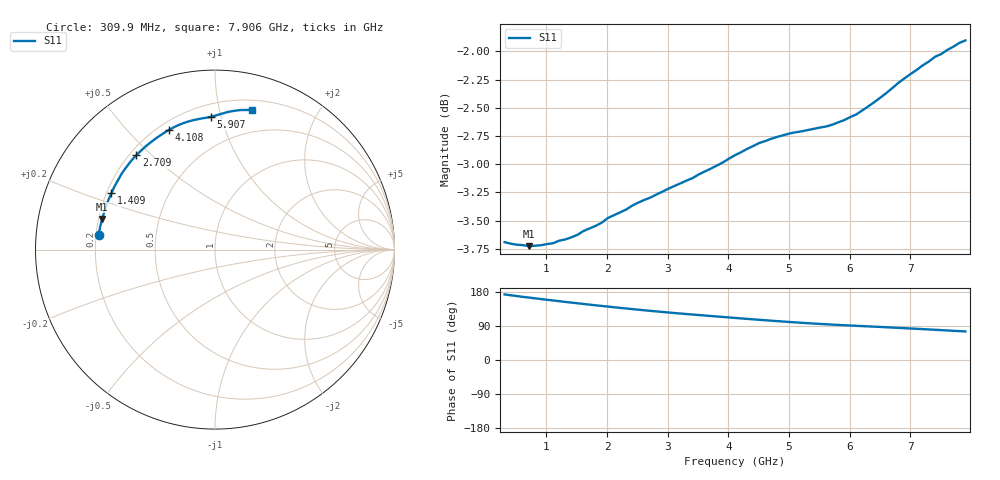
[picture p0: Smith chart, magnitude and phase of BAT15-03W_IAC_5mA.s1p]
! Infineon Technologies  Discrete & RF Semiconductors
! BAT15-03W-E6327
! IAC = 5 mA
! One-Port S-Parameters
# Hz  S  MA  R  50
!f  S11
!Hz  Mag  Ang
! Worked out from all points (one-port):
!   77 points, 309.9 MHz to 7.906 GHz, reference 50 ohm
!   lowest |S11| = -3.7 dB at 709.6 MHz (marker M1), VSWR 4.73, Z = 10.7 + j6.4 ohm
!   |S11| at or under -10 dB: nowhere
!   S11 on the Smith chart (normalised r, x): 309.9 MHz: 0.21, +0.06; 1.409 GHz: 0.22, +0.24; 2.709 GHz: 0.23, +0.45; 4.108 GHz: 0.24, +0.66; 5.907 GHz: 0.28, +0.93; 7.906 GHz: 0.29, +1.26
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3.0985e8  0.6538 173.0
6.097e8  0.6519 166.7
7.0965e8  0.6512 164.7
1.0095e9  0.6525 158.9
1.30935e9  0.6556 153.3
1.4093e9  0.657 151.5
1.6092e9  0.6613 147.9
1.70915e9  0.663 146.1
2.009e9  0.6701 141.0
2.2089e9  0.6739 137.6
2.50875e9  0.6807 132.8
2.70865e9  0.6842 129.8
3.0085e9  0.6905 125.4
3.2084e9  0.6943 122.6
3.6082e9  0.7027 117.4
4.10795e9  0.7145 111.0
4.50775e9  0.7235 106.1
4.70765e9  0.7267 103.7
5.10745e9  0.7314 99.2
5.30735e9  0.7331 97.1
5.50725e9  0.7349 95.2
5.90705e9  0.7405 91.8
6.007e9  0.7428 91.0
6.50675e9  0.7579 87.2
7.0065e9  0.7764 83.1
7.4063e9  0.7901 79.8
7.8061e9  0.8013 76.2
7.90605e9  0.8033 75.3
